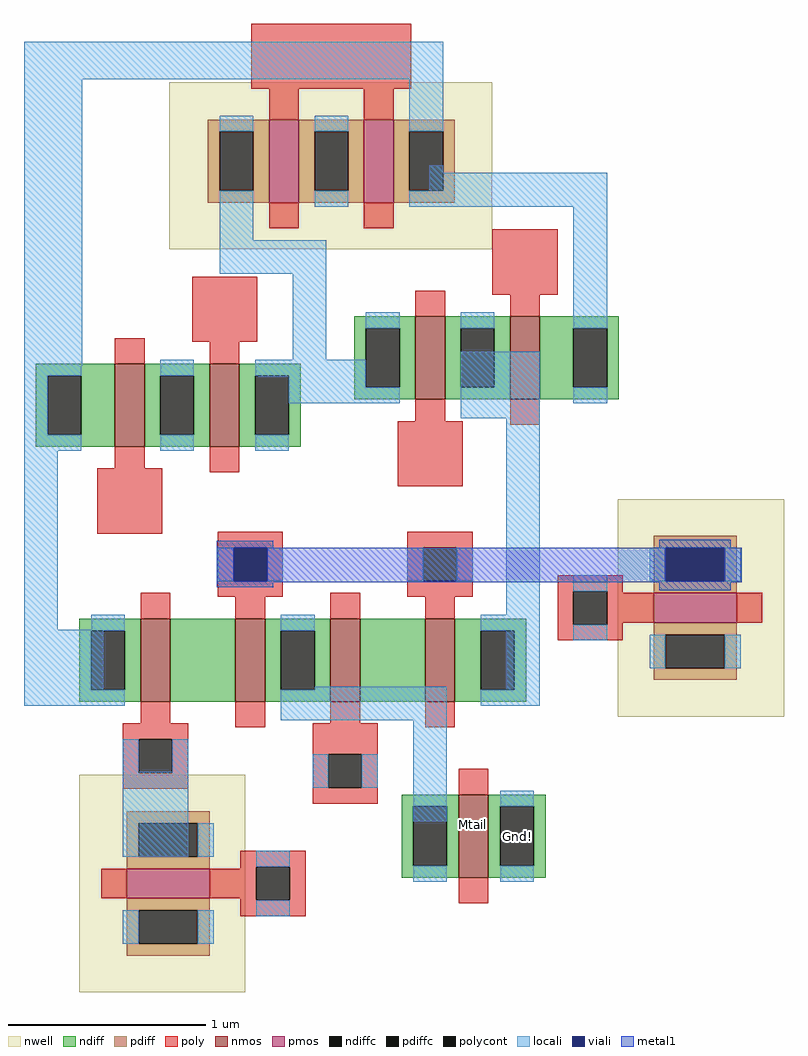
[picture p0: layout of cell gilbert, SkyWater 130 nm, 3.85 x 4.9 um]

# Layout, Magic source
magic
tech sky130A
magscale 1 2
<< locali >>
rect -498 476 -74 514
rect -498 186 -439 476
rect -108 438 -74 476
rect -108 424 -75 438
rect -88 381 -74 389
rect -300 349 -284 363
rect -274 349 -266 362
rect -88 355 92 381
rect -300 313 -266 349
rect -74 347 92 355
rect -300 279 -192 313
rect -226 192 -192 279
rect 58 240 92 347
rect 58 224 74 240
rect -498 176 -473 186
rect -498 101 -474 176
rect -261 175 -152 192
rect -230 148 -152 175
rect -56 133 24 200
rect -498 -81 -464 101
rect -498 -158 -418 -81
rect -204 -157 -70 -139
rect -220 -173 -70 -157
rect -10 -158 24 133
rect -398 -311 -332 -225
rect -104 -275 -70 -173
<< viali >>
rect -286 -32 -252 2
rect 151 -32 211 2
<< metal1 >>
rect -303 2 -246 9
rect 145 2 217 10
rect -303 -32 -286 2
rect -252 -32 151 2
rect 211 -32 228 2
rect -303 -33 228 -32
rect -303 -38 -246 -33
rect 145 -41 217 -33
use pshort_wkc1cl  pshort_wkc1cl_1
transform 0 1 145 -1 0 -59
box -110 -103 110 126
use pshort_wkc1cl  pshort_wkc1cl_0
transform 0 -1 -316 -1 0 -338
box -110 -103 110 126
use scp  scp_1
transform -1 0 -39 0 -1 194
box -143 -130 125 130
use scp  scp_0
transform 1 0 -343 0 1 146
box -143 -130 125 130
use scp_cascode  scp_cascode_0
transform 1 0 -221 0 1 -112
box -221 -145 231 130
use pshort_ncz0x8  pshort_ncz0x8_0
transform -1 0 -187 0 -1 393
box -163 -139 164 89
use nshort_c6xtbo  nshort_c6xtbo_0
transform -1 0 -43 0 -1 -290
box -73 -68 73 68
<< labels >>
rlabel space -16 -320 18 -260 1 Gnd!
rlabel space -44 -278 -44 -278 1 Mtail
<< end >>

# cell pshort_wkc1cl: kit device pshort, w 0.42 l 0.15 m 1 nf 1 diffcov 100 polycov 100 guard 0 glc 1 grc 1 gtc 1 gbc 1 tbcov 100 rlcov 100 topc 0 botc 1 poverlap 0 doverlap 1 lmin 0.15 wmin 0.42 compatible {pshort plowvt phighvt phv} full_metal 1

# cell scp: kit device nshort, w 0.420 l 0.150 m 1 nf 2 diffcov 100 polycov 100 guard 0 glc 1 grc 1 gtc 1 gbc 1 tbcov 100 rlcov 100 topc 1 botc 1 poverlap 0 doverlap 1 lmin 0.15 wmin 0.42 compatible {nshort nlowvt sonos_e nhv nhvnative} full_metal 1

# cell scp_cascode: kit device nshort, w 0.420 l 0.15 m 1 nf 4 diffcov 100 polycov 100 guard 0 glc 1 grc 1 gtc 1 gbc 1 tbcov 100 rlcov 100 topc 1 botc 1 poverlap 0 doverlap 1 lmin 0.15 wmin 0.42 compatible {nshort nlowvt sonos_e nhv nhvnative} full_metal 1

# cell pshort_ncz0x8: kit device pshort, w 0.42 l 0.15 m 1 nf 2 diffcov 100 polycov 100 guard 0 glc 1 grc 1 gtc 1 gbc 1 tbcov 100 rlcov 100 topc 1 botc 1 poverlap 0 doverlap 1 lmin 0.15 wmin 0.42 compatible {pshort plowvt phighvt phv} full_metal 1

# cell nshort_c6xtbo: kit device nshort, w 0.420 l 0.15 m 1 nf 1 diffcov 100 polycov 100 guard 0 glc 1 grc 1 gtc 1 gbc 1 tbcov 100 rlcov 100 topc 0 botc 0 poverlap 0 doverlap 0 lmin 0.15 wmin 0.42 compatible {nshort nlowvt sonos_e nhv nhvnative} full_metal 0
